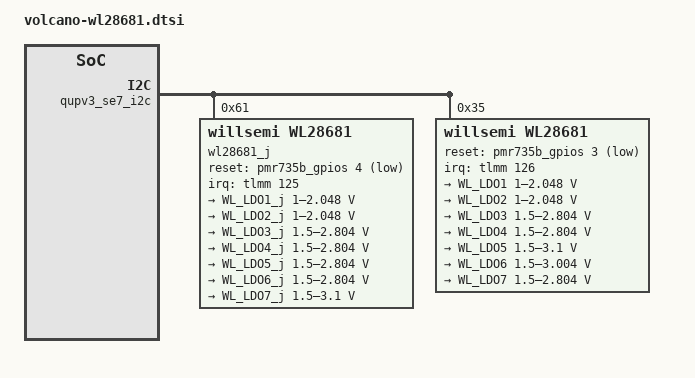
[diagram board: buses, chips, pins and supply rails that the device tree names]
/* Copyright (c) 2021 The Linux Foundation. All rights reserved.
 *
 * This program is free software; you can redistribute it and/or modify
 * it under the terms of the GNU General Public License version 2 and
 * only version 2 as published by the Free Software Foundation.
 *
 * This program is distributed in the hope that it will be useful,
 * but WITHOUT ANY WARRANTY; without even the implied warranty of
 * MERCHANTABILITY or FITNESS FOR A PARTICULAR PURPOSE.  See the
 * GNU General Public License for more details.
 *
 */

&qupv3_se7_i2c {
	wl28681_j:wl28681@61 {
		status = "okay";
		compatible = "willsemi,wl28681";
		reg =<0x61>;
		reset-gpios = <&pmr735b_gpios 4 GPIO_ACTIVE_LOW>;
		irq-gpios = <&tlmm 125 GPIO_ACTIVE_HIGH>;
		vin12 = <&S2B>;
		vin34 = <&BOB>;
		vin5 = <&BOB>;
		vin6 = <&BOB>;
		vin7 = <&BOB>;

		regulators {
			WL_LDO1_j: WL_LDO1_j {
				regulator-min-microvolt = <1000000>;
				regulator-max-microvolt = <2048000>;
				// init-voltage = <1150000>;
				regulator-name ="WL_LDO1_j";
			};
			WL_LDO2_j: WL_LDO2_j {
				regulator-min-microvolt = <1000000>;
				regulator-max-microvolt = <2048000>;
				// init-voltage = <1200000>;
				regulator-name = "WL_LDO2_j";
			};
			WL_LDO3_j: WL_LDO3_j {
				regulator-min-microvolt = <1500000>;
				regulator-max-microvolt = <2804000>;
				// init-voltage = <2804000>;
				regulator-name = "WL_LDO3_j";
			};
			WL_LDO4_j: WL_LDO4_j {
				regulator-min-microvolt = <1500000>;
				regulator-max-microvolt = <2804000>;
				// init-voltage = <2704000>;
				regulator-name = "WL_LDO4_j";
			};
			WL_LDO5_j: WL_LDO5_j {
				regulator-min-microvolt = <1500000>;
				regulator-max-microvolt = <2804000>;
				// init-voltage = <2804000>;
				regulator-name = "WL_LDO5_j";
			};
			WL_LDO6_j:WL_LDO6_j {
				regulator-min-microvolt = <1500000>;
				regulator-max-microvolt = <2804000>;
				// init-voltage = <2804000>;
				regulator-name ="WL_LDO6_j";
			};
			WL_LDO7_j:WL_LDO7_j {
				regulator-min-microvolt = <1500000>;
				regulator-max-microvolt = <3100000>;
				// init-voltage = <3100000>;
				regulator-name = "WL_LDO7_j";
			};
		};
	};

	wl28681:wl28681@35 {
		status = "okay";
		compatible = "willsemi,wl28681";
		reg =<0x35>;
		reset-gpios = <&pmr735b_gpios 3 GPIO_ACTIVE_LOW>;
		irq-gpios = <&tlmm 126 GPIO_ACTIVE_HIGH>;
		vin12 = <&S2B>;
		vin34 = <&BOB>;
		vin5 = <&BOB>;
		vin6 = <&BOB>;
		vin7 = <&BOB>;

		regulators {
			WL_LDO1: WL_LDO1 {
				regulator-min-microvolt = <1000000>;
				regulator-max-microvolt = <2048000>;
				// init-voltage = <1050000>;
				regulator-name ="WL_LDO1";
			};
			WL_LDO2: WL_LDO2 {
				regulator-min-microvolt = <1000000>;
				regulator-max-microvolt = <2048000>;
				// init-voltage = <1100000>;
				regulator-name = "WL_LDO2";
			};
			WL_LDO3: WL_LDO3 {
				regulator-min-microvolt = <1500000>;
				regulator-max-microvolt = <2804000>;
				// init-voltage = <2204000>;
				regulator-name = "WL_LDO3";
			};
			WL_LDO4: WL_LDO4 {
				regulator-min-microvolt = <1500000>;
				regulator-max-microvolt = <2804000>;
				// init-voltage = <1804000>;
				regulator-name = "WL_LDO4";
			};
			WL_LDO5: WL_LDO5 {
				regulator-min-microvolt = <1500000>;
				regulator-max-microvolt = <3100000>;
				// init-voltage = <3100000>;
				regulator-name = "WL_LDO5";
			};
			WL_LDO6:WL_LDO6 {
				regulator-min-microvolt = <1500000>;
				regulator-max-microvolt = <3004000>;
				// init-voltage = <3004000>;
				regulator-name ="WL_LDO6";
			};
			WL_LDO7:WL_LDO7 {
				regulator-min-microvolt = <1500000>;
				regulator-max-microvolt = <2804000>;
				// init-voltage = <2804000>;
				regulator-name = "WL_LDO7";
			};
		};
	};
};
